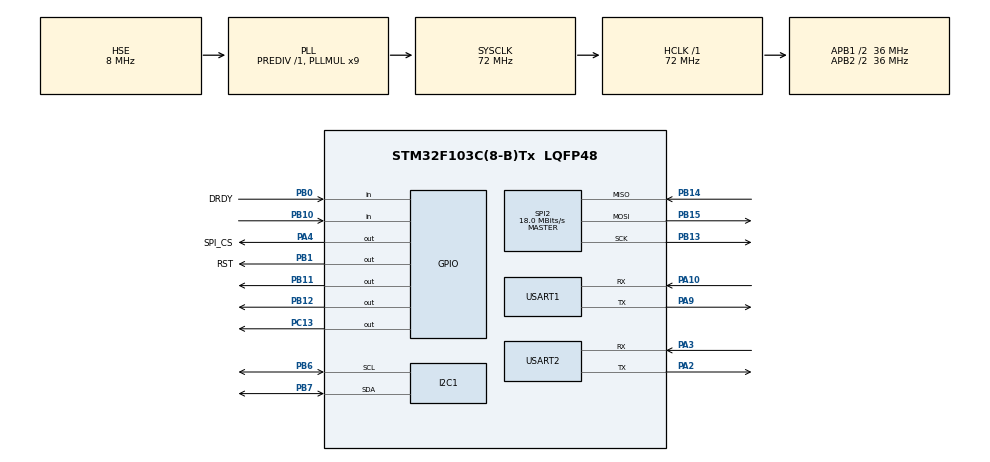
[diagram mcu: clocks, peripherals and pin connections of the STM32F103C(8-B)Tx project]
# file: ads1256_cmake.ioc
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Mcu.Family=STM32F1
Mcu.Name=STM32F103C(8-B)Tx
Mcu.Package=LQFP48
NVIC.PriorityGroup=NVIC_PRIORITYGROUP_4
NVIC.USART2_IRQn=true\:0\:0\:false\:false\:true\:true\:true\:true
PA10.Mode=Asynchronous
PA10.Signal=USART1_RX
PA13.Mode=Serial_Wire
PA13.Signal=SYS_JTMS-SWDIO
PA14.Mode=Serial_Wire
PA14.Signal=SYS_JTCK-SWCLK
PA2.Mode=Asynchronous
PA2.Signal=USART2_TX
PA3.Mode=Asynchronous
PA3.Signal=USART2_RX
PA4.GPIO_Label=SPI_CS
PA4.Signal=GPIO_Output
PA9.Mode=Asynchronous
PA9.Signal=USART1_TX
PB0.GPIO_Label=DRDY
PB0.Signal=GPIO_Input
PB1.GPIO_Label=RST
PB1.Signal=GPIO_Output
PB10.Signal=GPIO_Input
PB11.Signal=GPIO_Output
PB12.Signal=GPIO_Output
PB13.Mode=Full_Duplex_Master
PB13.Signal=SPI2_SCK
PB14.Mode=Full_Duplex_Master
PB14.Signal=SPI2_MISO
PB15.Mode=Full_Duplex_Master
PB15.Signal=SPI2_MOSI
PB6.Mode=I2C
PB6.Signal=I2C1_SCL
PB7.Mode=I2C
PB7.Signal=I2C1_SDA
PC13-TAMPER-RTC.Signal=GPIO_Output
PD0-OSC_IN.Mode=HSE-External-Oscillator
PD0-OSC_IN.Signal=RCC_OSC_IN
PD1-OSC_OUT.Mode=HSE-External-Oscillator
PD1-OSC_OUT.Signal=RCC_OSC_OUT
ProjectManager.HeapSize=0x200
ProjectManager.StackSize=0x400
ProjectManager.TargetToolchain=CMake
RCC.AHBFreq_Value=72000000
RCC.APB1CLKDivider=RCC_HCLK_DIV2
RCC.APB1Freq_Value=36000000
RCC.APB1TimFreq_Value=72000000
RCC.APB2CLKDivider=RCC_HCLK_DIV2
RCC.APB2Freq_Value=36000000
RCC.APB2TimFreq_Value=72000000
RCC.HCLKFreq_Value=72000000
RCC.PLLMUL=RCC_PLL_MUL9
RCC.PLLSourceVirtual=RCC_PLLSOURCE_HSE
RCC.SYSCLKFreq_VALUE=72000000
RCC.SYSCLKSource=RCC_SYSCLKSOURCE_PLLCLK
RCC.USBFreq_Value=72000000
SPI2.CLKPhase=SPI_PHASE_2EDGE
SPI2.CalculateBaudRate=18.0 MBits/s
SPI2.Direction=SPI_DIRECTION_2LINES
SPI2.Mode=SPI_MODE_MASTER
SPI2.VirtualType=VM_MASTER
USART1.VirtualMode=VM_ASYNC
USART2.VirtualMode=VM_ASYNC
board=custom

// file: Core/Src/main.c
/* USER CODE BEGIN Header */
/**
 ******************************************************************************
 * @file           : main.c
 * @brief          : Main program body
 ******************************************************************************
 * @attention
 *
 * Copyright (c) 2025 STMicroelectronics.
 * All rights reserved.
 *
 * This software is licensed under terms that can be found in the LICENSE file
 * in the root directory of this software component.
 * If no LICENSE file comes with this software, it is provided AS-IS.
 *
 ******************************************************************************
 */
/* USER CODE END Header */
#include "main.h"
#include "i2c.h"
#include "spi.h"
#include "usart.h"
#include "gpio.h"

/* USER CODE BEGIN Includes */
#include <stdio.h>
#include "ads1256.h"
#include "test.h"
#include "ads1256_main.h"
#include "config.h"

/* USER CODE END Includes */

void SystemClock_Config(void);

int main(void)
{

    /* MCU Configuration--------------------------------------------------------*/

    /* Reset of all peripherals, Initializes the Flash interface and the Systick. */
    HAL_Init();

    /* Configure the system clock */
    SystemClock_Config();

    /* Initialize all configured peripherals */
    MX_GPIO_Init();
    MX_I2C1_Init();
    MX_USART1_UART_Init();
    MX_SPI2_Init();
    MX_USART2_UART_Init();
    /* USER CODE BEGIN 2 */
    float a = 10.1;

#ifdef TEST
    test_main();

#elif defined(RELEASE)
    printf("RELEASE Mode!!!\n");
    ads1256_main();
#else
    printf("please define TEST or RELEASE in config.h\n");

#endif

    /* USER CODE END 2 */

    /* Infinite loop */
    while (1)
    {

    }
}

void SystemClock_Config(void)
{
    RCC_OscInitTypeDef RCC_OscInitStruct = {0};
    RCC_ClkInitTypeDef RCC_ClkInitStruct = {0};

    /** Initializes the RCC Oscillators according to the specified parameters
     * in the RCC_OscInitTypeDef structure.
     */
    RCC_OscInitStruct.OscillatorType = RCC_OSCILLATORTYPE_HSE;
    RCC_OscInitStruct.HSEState = RCC_HSE_ON;
    RCC_OscInitStruct.HSEPredivValue = RCC_HSE_PREDIV_DIV1;
    RCC_OscInitStruct.HSIState = RCC_HSI_ON;
    RCC_OscInitStruct.PLL.PLLState = RCC_PLL_ON;
    RCC_OscInitStruct.PLL.PLLSource = RCC_PLLSOURCE_HSE;
    RCC_OscInitStruct.PLL.PLLMUL = RCC_PLL_MUL9;
    if (HAL_RCC_OscConfig(&RCC_OscInitStruct) != HAL_OK)
    {
        Error_Handler();
    }

    /** Initializes the CPU, AHB and APB buses clocks
     */
    RCC_ClkInitStruct.ClockType = RCC_CLOCKTYPE_HCLK | RCC_CLOCKTYPE_SYSCLK | RCC_CLOCKTYPE_PCLK1 | RCC_CLOCKTYPE_PCLK2;
    RCC_ClkInitStruct.SYSCLKSource = RCC_SYSCLKSOURCE_PLLCLK;
    RCC_ClkInitStruct.AHBCLKDivider = RCC_SYSCLK_DIV1;
    RCC_ClkInitStruct.APB1CLKDivider = RCC_HCLK_DIV2;
    RCC_ClkInitStruct.APB2CLKDivider = RCC_HCLK_DIV2;

    if (HAL_RCC_ClockConfig(&RCC_ClkInitStruct, FLASH_LATENCY_2) != HAL_OK)
    {
        Error_Handler();
    }
}

void Error_Handler(void)
{
    __disable_irq();
    while (1)
    {
    }
}
#ifdef USE_FULL_ASSERT
/**
 * @brief  Reports the name of the source file and the source line number
 *         where the assert_param error has occurred.
 * @param  file: pointer to the source file name
 * @param  line: assert_param error line source number
 * @retval None
 */
void assert_failed(uint8_t *file, uint32_t line)
{
    /* USER CODE BEGIN 6 */
    /* User can add his own implementation to report the file name and line
       number, ex: printf("Wrong parameters value: file %s on line %d\r\n", file,
       line) */
    /* USER CODE END 6 */
}
#endif /* USE_FULL_ASSERT */
